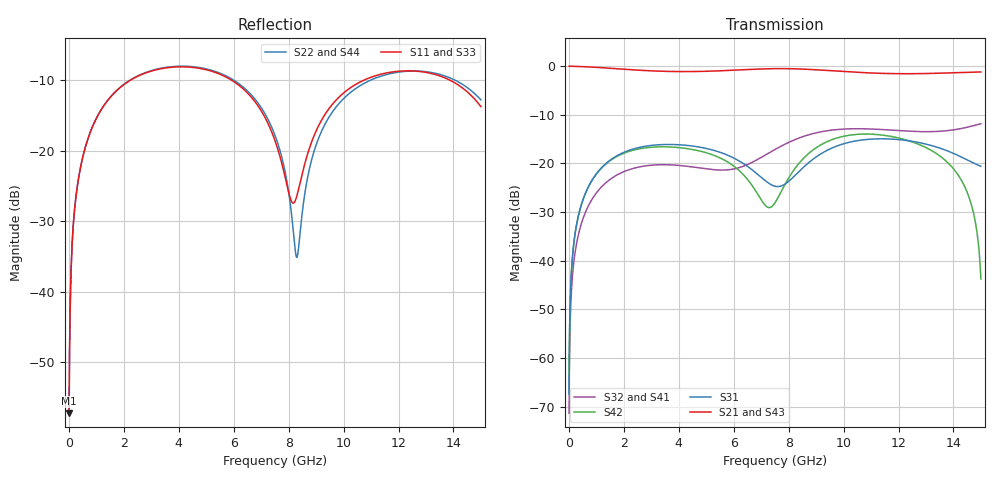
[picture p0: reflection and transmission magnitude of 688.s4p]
! Created with skrf 1.8.0 (http://scikit-rf.org).
# GHz S RI R 50.0
!freq ReS11 ImS11 ReS12 ImS12 ReS13 ImS13
! ReS14 ImS14
! ReS21 ImS21 ReS22 ImS22 ReS23 ImS23
! ReS24 ImS24
! ReS31 ImS31 ReS32 ImS32 ReS33 ImS33
! ReS34 ImS34
! ReS41 ImS41 ReS42 ImS42 ReS43 ImS43
! ReS44 ImS44
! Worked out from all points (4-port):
!   2499 points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, 5 MHz to 15 GHz, reference 50 ohm
!   strongest paths, dB at 5 MHz, 3.476 GHz, 7.19 GHz, 11.1 GHz, 15 GHz:
!     S21: 0.0, -1.1, -0.6, -1.4, -1.2
!     S43: 0.0, -1.1, -0.6, -1.4, -1.2
!     S31: -67.4, -16.1, -23.7, -15.0, -20.6
!     S42: -67.4, -16.6, -28.8, -14.0, -43.7
!     S32: -71.3, -20.3, -18.1, -12.9, -11.8
!     S41: -71.3, -20.3, -18.2, -13.1, -11.8
!   lowest |S11| = -57.2 dB at 5 MHz (marker M1), VSWR 1.00, Z = 50.1 + j0.0836 ohm
!   |S11| at or under -10 dB: start of sweep to 2.23 GHz; 5.929 GHz to 10.73 GHz (4.798 GHz wide, 57.6 % of centre); 13.88 GHz to end of sweep
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0.005  0.0011 0.000835  0.9989 -0.00214  5.33e-05 0.000424  -5.18e-05 -0.000266
       0.9989 -0.00214  0.0011 0.000835  -5.18e-05 -0.000266  5.32e-05 0.000424
       5.33e-05 0.000424  -5.18e-05 -0.000266  0.0011 0.000834  0.9989 -0.00214
       -5.18e-05 -0.000266  5.32e-05 0.000424  0.9989 -0.00214  0.0011 0.000834
0.4626928  0.022 0.0807  0.9694 -0.1957  0.0108 0.0372  -0.00856 -0.0232
           0.9694 -0.1957  0.0221 0.0807  -0.00858 -0.0232  0.00985 0.0374
           0.0108 0.0372  -0.00858 -0.0232  0.022 0.0807  0.9694 -0.1958
           -0.00856 -0.0232  0.00985 0.0374  0.9694 -0.1958  0.0221 0.0807
2.482284  0.2877 0.1742  0.5054 -0.757  0.1377 0.0436  -0.0908 0.000831
          0.5054 -0.757  0.292 0.171  -0.0911 0.00126  0.1249 0.063
          0.1377 0.0436  -0.0911 0.00126  0.2876 0.1744  0.5054 -0.757
          -0.0908 0.000831  0.1249 0.063  0.5054 -0.757  0.2923 0.1708
6.67153  0.1632 -0.1708  -0.7177 -0.5871  -0.0159 -0.0845  -0.0529 0.0873
         -0.7177 -0.5871  0.1518 -0.1929  -0.0496 0.0901  0.0542 -0.0238
         -0.0159 -0.0845  -0.0496 0.0901  0.165 -0.1706  -0.7174 -0.5869
         -0.0529 0.0873  0.0542 -0.0238  -0.7174 -0.5869  0.1519 -0.1947
8.309712  0.0448 0.0195  -0.9364 -0.02  -0.0375 0.0698  -0.00232 0.1794
          -0.9364 -0.02  0.0177 0.000826  0.00437 0.1794  0.0534 0.0787
          -0.0375 0.0698  0.00437 0.1794  0.0462 0.0174  -0.9364 -0.0201
          -0.00232 0.1794  0.0534 0.0787  -0.9364 -0.0201  0.0171 -0.000339
13.18674  0.3429 -0.0875  0.1405 0.8297  0.0987 -0.1172  0.1923 -0.0802
          0.1405 0.8297  0.3506 -0.0797  0.1898 -0.0951  0.1121 -0.078
          0.0987 -0.1172  0.1898 -0.0951  0.3423 -0.0835  0.1418 0.8292
          0.1923 -0.0802  0.1121 -0.078  0.1418 0.8292  0.3525 -0.0845
15  0.1547 -0.1358  0.6522 0.5773  -0.0656 -0.0669  0.1706 -0.1906
    0.6522 0.5773  0.1657 -0.1595  0.1549 -0.204  0.00309 -0.00573
    -0.0656 -0.0669  0.1549 -0.204  0.1607 -0.1335  0.6528 0.5758
    0.1706 -0.1906  0.00309 -0.00573  0.6528 0.5758  0.1637 -0.1644
